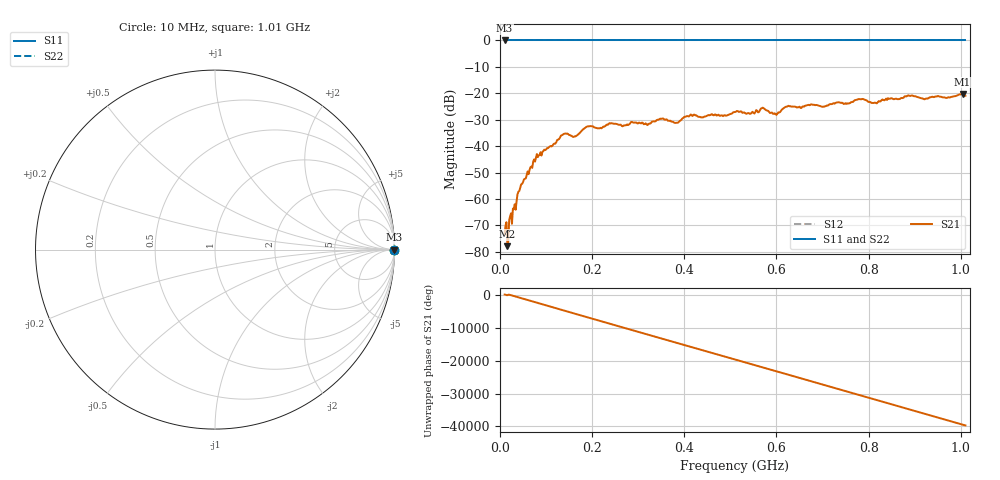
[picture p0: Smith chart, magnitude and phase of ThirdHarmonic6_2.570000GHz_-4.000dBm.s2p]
! 8/17/2025 5:22:19 AM
! C:\ANRITSUVNA\TEMP\TEMP.S2P
! CHANNEL.1
! TR.MEASUREMENT
! RAW.DATA
! RF.CORRECTION.OFF
! AVERAGING.OFF
! IF.BANDWIDTH: 5KHZ
! SWEEPTYPE:  FREQ.SWEEP(Linear)
! Reference Plane Port Info
! PORT:  PORT1  PORT2
! DISTANCE:  0  m  0  m
! TIME:  0  s  0  s
! PHASE.OFFSET:  0  deg.  0  deg.
! LOSS:  0  dB  0  dB
! REF.LOSS:  0  dB  0  dB
! REF.FREQ:  0  Hz  0  Hz
! Power Info
! POWER:  -20  dBm  -20  dBm
! EFF.POWER:  -20  dBm  -20  dBm
! SOURCE.ATTEN:  0  dB  0  dB
! TEST.ATTEN:  0  dB  0  dB
# GHZ S RI R 50.0
! FREQ.GHZ  S11RE  S11IM  S21RE  S21IM  S12RE  S12IM  S22RE  S22IM
!; PortSelection: Port_12
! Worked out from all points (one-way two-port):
!   501 points, 10 MHz to 1.01 GHz, reference 50 ohm
!   highest |S21| = -20.21 dB at 1.004 GHz (marker M1); lowest = -77.8 dB at 16 MHz (marker M2)
!   lowest |S11| = 0.0 dB at 10 MHz (marker M3)
!   |S11| at or under -10 dB: nowhere
!   |S22| runs from 0.0 to 0.0 dB; largest |S21 - S12| = 1.1
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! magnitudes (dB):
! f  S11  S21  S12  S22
! 10 MHz  0.0  -73.3  0.0  0.0
! 14 MHz  0.0  -68.8  0.0  0.0
! 16 MHz  0.0  -77.8  0.0  0.0
! 42 MHz  0.0  -56.9  0.0  0.0
! 76 MHz  0.0  -45.8  0.0  0.0
! 136 MHz  0.0  -35.7  0.0  0.0
! 162 MHz  0.0  -36.3  0.0  0.0
! 178 MHz  0.0  -34.0  0.0  0.0
! 192 MHz  0.0  -32.5  0.0  0.0
! 322 MHz  0.0  -31.6  0.0  0.0
! 344 MHz  0.0  -30.0  0.0  0.0
! 382 MHz  0.0  -31.2  0.0  0.0
! 418 MHz  0.0  -28.5  0.0  0.0
! 510 MHz  0.0  -27.1  0.0  0.0
! 540 MHz  0.0  -27.5  0.0  0.0
! 570 MHz  0.0  -25.4  0.0  0.0
! 598 MHz  0.0  -27.8  0.0  0.0
! 622 MHz  0.0  -25.1  0.0  0.0
! 678 MHz  0.0  -24.3  0.0  0.0
! 844 MHz  0.0  -22.0  0.0  0.0
! 1.004 GHz  0.0  -20.2  0.0  0.0
! 1.01 GHz  0.0  -20.9  0.0  0.0
